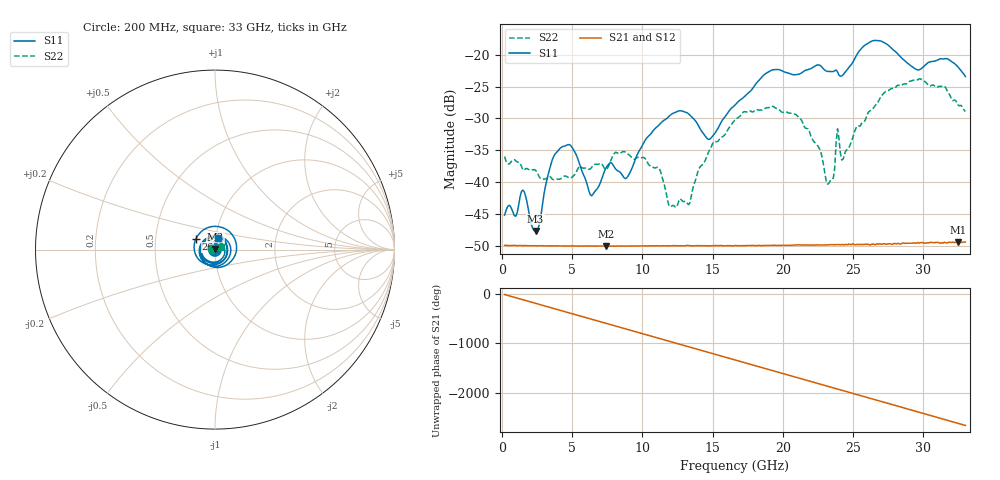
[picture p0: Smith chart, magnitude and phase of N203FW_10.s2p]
# GHZ S RI R 50
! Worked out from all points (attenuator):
!   329 points, 200 MHz to 33 GHz, reference 50 ohm
!   highest |S21| = -49.42 dB at 32.5 GHz (marker M1); lowest = -50.1 dB at 7.4 GHz (marker M2)
!   lowest |S11| = -47.7 dB at 2.4 GHz (marker M3), VSWR 1.01, Z = 50.2 + j0.362 ohm
!   |S11| at or under -10 dB: start of sweep to end of sweep
!   |S22| runs from -44.0 to -23.8 dB; largest |S21 - S12| = 8.8e-05
!   S11 on the Smith chart (normalised r, x): 200 MHz: 1.01, +0.00; 26 GHz: 0.80, +0.10; 33 GHz: 1.03, +0.13
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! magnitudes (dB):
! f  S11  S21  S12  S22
! 200 MHz  -45.2  -50.0  -49.9  -36.0
! 1.5 GHz  -41.3  -50.0  -50.0  -38.1
! 2.4 GHz  -47.7  -50.0  -50.0  -38.1
! 3.8 GHz  -35.6  -50.0  -50.0  -39.6
! 5.7 GHz  -38.2  -50.1  -50.0  -37.7
! 6.4 GHz  -42.2  -50.1  -50.1  -37.7
! 7.4 GHz  -37.9  -50.1  -50.0  -38.0
! 8.9 GHz  -39.3  -50.1  -50.1  -35.5
! 11.2 GHz  -31.0  -50.0  -50.0  -37.8
! 11.9 GHz  -29.7  -50.0  -50.0  -43.7
! 13.3 GHz  -29.3  -50.0  -50.0  -43.6
! 14.8 GHz  -33.3  -50.0  -50.0  -34.9
! 16.6 GHz  -27.9  -50.0  -50.0  -30.2
! 22.1 GHz  -22.0  -49.9  -49.9  -33.2
! 23.2 GHz  -22.6  -49.9  -49.9  -40.3
! 23.6 GHz  -22.6  -49.9  -49.9  -39.4
! 23.9 GHz  -22.7  -49.9  -49.9  -31.6
! 24.2 GHz  -23.3  -49.8  -49.8  -36.5
! 26 GHz  -18.3  -49.8  -49.8  -29.4
! 27.6 GHz  -18.7  -49.7  -49.7  -25.5
! 32.5 GHz  -22.0  -49.4  -49.4  -28.0
! 33 GHz  -23.4  -49.4  -49.5  -28.9
